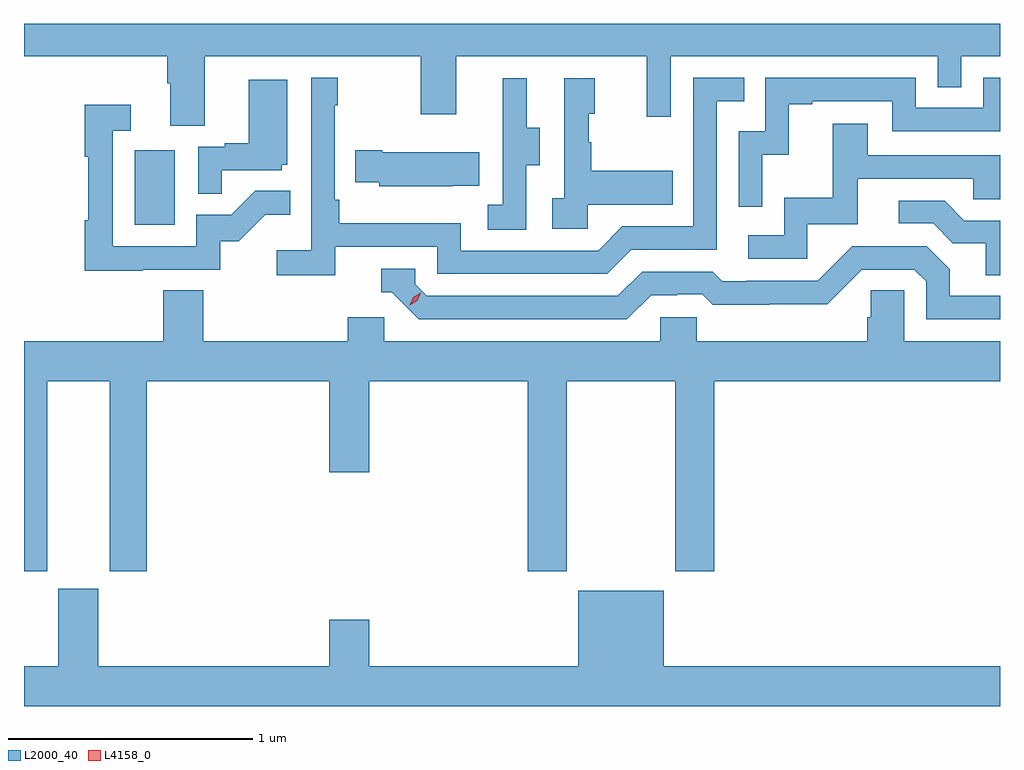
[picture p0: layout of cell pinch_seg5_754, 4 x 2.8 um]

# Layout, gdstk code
import gdstk
lib = gdstk.Library(unit=1e-6, precision=1e-09)
def R(c, l, rs):  # rectangles x0, y0, x1, y1
    for r in rs: c.add(gdstk.rectangle(r[:2], r[2:], *l))
def P(c, l, *ps):  # polygons
    for p in ps: c.add(gdstk.Polygon(p, *l))
L2000_40 = (2000, 40)
L4158_0 = (4158, 0)

pinch_seg5_754 = lib.new_cell('pinch_seg5_754')
R(pinch_seg5_754, L2000_40, [(823.55,914.676,823.714,914.983)])
P(pinch_seg5_754, L2000_40, [(823.837,915.368),(824.722,915.368),(824.722,915.129),(824.869,915.129),(824.869,915.368),(825.65,915.368),(825.65,915.12),(825.747,915.12),(825.747,915.368),(826.842,915.368),(826.842,915.241),(826.938,915.241),(826.938,915.368),(827.097,915.368),(827.097,915.5),(823.097,915.5),(823.097,915.368),(823.685,915.368),(823.685,915.256),(823.697,915.256),(823.697,915.082),(823.837,915.082)],
  [(824.372,914.586),(824.79,914.586),(824.79,914.475),(825.487,914.475),(825.586,914.574),(825.936,914.574),(825.936,915.183),(826.049,915.183),(826.049,915.279),(825.84,915.279),(825.84,914.67),(825.549,914.67),(825.45,914.571),(824.886,914.571),(824.886,914.683),(824.39,914.683),(824.39,914.779),(824.37,914.779),(824.37,915.167),(824.383,915.167),(824.383,915.28),(824.274,915.28),(824.274,914.572),(824.133,914.572),(824.133,914.47),(824.372,914.47)],
  [(826.122,914.963),(826.232,914.963),(826.232,915.171),(826.327,915.171),(826.327,915.183),(826.656,915.183),(826.656,915.06),(827.097,915.06),(827.097,915.279),(827.028,915.279),(827.028,915.156),(826.752,915.156),(826.752,915.279),(826.134,915.279),(826.134,915.06),(826.026,915.06),(826.026,914.751),(826.122,914.751)],
  [(825.408,914.759),(825.755,914.759),(825.755,914.899),(825.421,914.899),(825.421,915.014),(825.411,915.014),(825.411,915.132),(825.436,915.132),(825.436,915.277),(825.312,915.277),(825.312,914.786),(825.261,914.786),(825.261,914.661),(825.408,914.661)],
  [(825.156,914.92),(825.211,914.92),(825.211,915.075),(825.157,915.075),(825.157,915.277),(825.059,915.277),(825.059,915.063),(825.06,915.063),(825.06,914.759),(824.997,914.759),(824.997,914.656),(825.156,914.656)],
  [(823.907,914.901),(824.154,914.901),(824.154,914.922),(824.176,914.922),(824.176,915.271),(824.018,915.271),(824.018,915.01),(823.919,915.01),(823.919,914.997),(823.812,914.997),(823.812,914.803),(823.907,914.803)],
  [(823.583,914.493),(823.902,914.493),(823.902,914.61),(823.978,914.61),(824.085,914.717),(824.189,914.717),(824.189,914.816),(824.045,914.816),(823.947,914.718),(823.803,914.718),(823.803,914.589),(823.461,914.589),(823.461,915.063),(823.534,915.063),(823.534,915.169),(823.345,915.169),(823.345,914.956),(823.36,914.956),(823.36,914.696),(823.345,914.696),(823.345,914.488),(823.583,914.488)],
  [(826.308,914.679),(826.513,914.679),(826.513,914.865),(826.987,914.865),(826.987,914.781),(827.097,914.781),(827.097,914.961),(826.555,914.961),(826.555,915.091),(826.411,915.091),(826.411,914.788),(826.212,914.788),(826.212,914.634),(826.065,914.634),(826.065,914.538),(826.308,914.538)],
  [(824.855,914.837),(824.963,914.837),(824.963,914.974),(824.566,914.974),(824.566,914.982),(824.455,914.982),(824.455,914.852),(824.553,914.852),(824.553,914.834),(824.855,914.834)],
  [(827.097,914.694),(826.951,914.694),(826.87,914.775),(826.683,914.775),(826.683,914.682),(826.824,914.682),(826.904,914.602),(827.039,914.602),(827.039,914.47),(827.097,914.47)],
  [(825.667,914.388),(825.774,914.388),(825.774,914.391),(825.877,914.391),(825.919,914.349),(826.152,914.349),(826.152,914.351),(826.388,914.351),(826.53,914.493),(826.746,914.493),(826.794,914.445),(826.794,914.289),(827.097,914.289),(827.097,914.385),(826.891,914.385),(826.891,914.495),(826.797,914.589),(826.491,914.589),(826.35,914.448),(826.057,914.448),(826.057,914.445),(825.958,914.445),(825.919,914.484),(825.63,914.484),(825.531,914.385),(824.748,914.385),(824.7,914.433),(824.7,914.496),(824.561,914.496),(824.561,914.4),(824.604,914.4),(824.715,914.289),(825.568,914.289)],
  [(823.192,914.036),(823.448,914.036),(823.448,913.257),(823.601,913.257),(823.601,914.036),(824.348,914.036),(824.348,913.662),(824.512,913.662),(824.512,914.036),(825.161,914.036),(825.161,913.257),(825.321,913.257),(825.321,914.036),(825.766,914.036),(825.766,913.257),(825.926,913.257),(825.926,914.036),(827.097,914.036),(827.097,914.2),(826.704,914.2),(826.704,914.408),(826.567,914.408),(826.567,914.298),(826.553,914.298),(826.553,914.2),(825.855,914.2),(825.855,914.298),(825.705,914.298),(825.705,914.2),(824.574,914.2),(824.574,914.298),(824.423,914.298),(824.423,914.2),(823.832,914.2),(823.832,914.408),(823.667,914.408),(823.667,914.2),(823.097,914.2),(823.097,913.257),(823.192,913.257)],
  [(827.097,912.868),(825.718,912.868),(825.718,913.177),(825.368,913.177),(825.368,912.868),(824.512,912.868),(824.512,913.057),(824.348,913.057),(824.348,912.868),(823.402,912.868),(823.402,913.185),(823.238,913.185),(823.238,912.868),(823.097,912.868),(823.097,912.704),(827.097,912.704)])
P(pinch_seg5_754, L4158_0, [(824.677,914.347),(824.677,914.347),(824.693,914.38),(824.724,914.399),(824.724,914.399),(824.724,914.398),(824.708,914.366),(824.677,914.347)])

lib.write_gds('pinch_seg5_754.gds')
